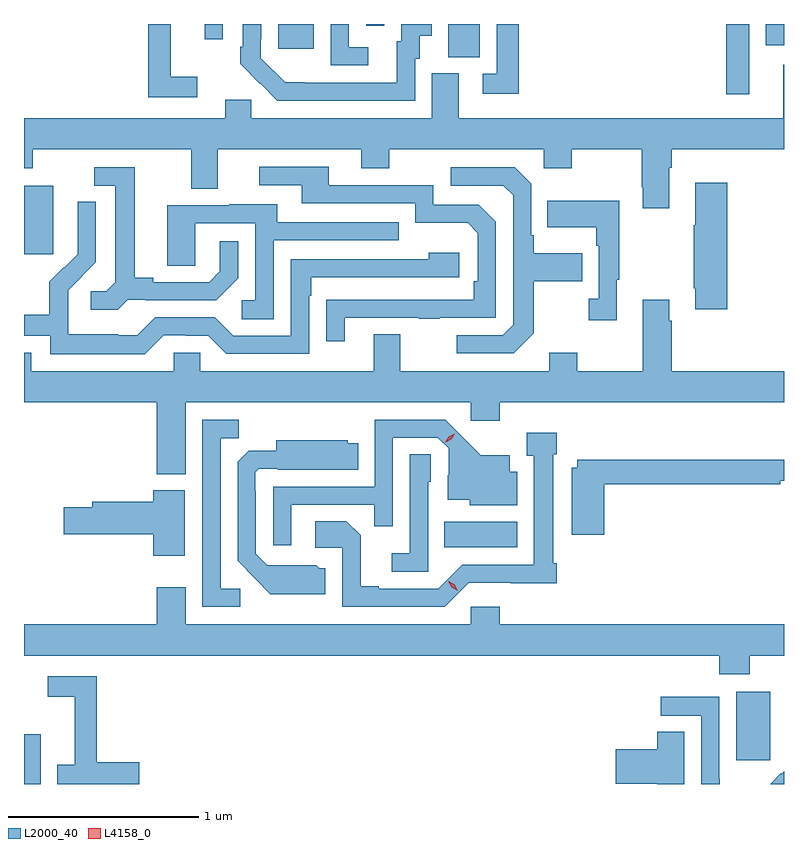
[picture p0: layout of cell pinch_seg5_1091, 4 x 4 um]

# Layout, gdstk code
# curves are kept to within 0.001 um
import gdstk
lib = gdstk.Library(unit=1e-6, precision=1e-09)
def R(c, l, rs):  # rectangles x0, y0, x1, y1
    for r in rs: c.add(gdstk.rectangle(r[:2], r[2:], *l))
def P(c, l, *ps):  # polygons
    for p in ps: c.add(gdstk.Polygon(p, *l))
L2000_40 = (2000, 40)
L4158_0 = (4158, 0)

pinch_seg5_1091 = lib.new_cell('pinch_seg5_1091')
R(pinch_seg5_1091, L2000_40, [(790.722,837.436,790.809,837.697), (794.471,837.561,794.65,837.922), (792.934,838.682,793.318,838.816), (790.722,840.225,790.876,840.586), (794.418,841.065,794.539,841.436), (792.956,841.261,793.12,841.436), (792.059,841.305,792.247,841.436), (794.627,841.325,794.722,841.436), (791.673,841.356,791.769,841.436), (792.522,841.428,792.618,841.436)])
P(pinch_seg5_1091, L2000_40, [(791.635,841.159),(791.495,841.159),(791.495,841.436),(791.377,841.436),(791.377,841.05),(791.635,841.05)],
  [(792.78,841.254),(792.805,841.254),(792.805,841.373),(792.868,841.373),(792.868,841.436),(792.707,841.436),(792.707,841.344),(792.683,841.344),(792.683,841.128),(792.096,841.129),(791.967,841.257),(791.967,841.357),(791.97,841.357),(791.97,841.436),(791.874,841.436),(791.874,841.315),(791.859,841.315),(791.859,841.227),(792.056,841.032),(792.78,841.032)],
  [(792.535,841.314),(792.432,841.314),(792.432,841.436),(792.336,841.436),(792.336,841.218),(792.535,841.218)],
  [(793.325,841.436),(793.209,841.436),(793.209,841.173),(793.137,841.173),(793.137,841.068),(793.325,841.068)],
  [(794.119,840.68),(794.132,840.68),(794.132,840.776),(794.722,840.776),(794.722,841.222),(794.717,841.222),(794.717,840.94),(793.009,840.94),(793.009,841.176),(792.869,841.176),(792.869,840.94),(791.919,840.94),(791.919,841.038),(791.78,841.038),(791.78,840.94),(790.722,840.94),(790.722,840.677),(790.767,840.677),(790.767,840.776),(791.603,840.776),(791.603,840.568),(791.743,840.568),(791.743,840.776),(792.497,840.776),(792.497,840.677),(792.645,840.677),(792.645,840.776),(793.458,840.776),(793.458,840.677),(793.605,840.677),(793.605,840.776),(793.972,840.776),(793.972,840.577),(793.979,840.577),(793.979,840.465),(794.119,840.465)],
  [(792.409,839.889),(792.799,839.889),(792.799,839.884),(792.911,839.884),(792.911,839.889),(793.206,839.889),(793.206,840.396),(793.116,840.486),(792.876,840.486),(792.876,840.588),(792.325,840.588),(792.325,840.684),(791.961,840.684),(791.961,840.588),(792.185,840.588),(792.185,840.492),(792.78,840.492),(792.78,840.389),(793.057,840.389),(793.11,840.336),(793.11,840.082),(793.09,840.082),(793.09,839.985),(792.313,839.984),(792.313,839.766),(792.409,839.766)],
  [(793.405,839.809),(793.405,840.082),(793.661,840.082),(793.661,840.229),(793.405,840.229),(793.405,840.325),(793.392,840.325),(793.392,840.594),(793.305,840.681),(792.969,840.681),(792.969,840.585),(793.245,840.585),(793.296,840.534),(793.296,839.853),(793.242,839.799),(792.999,839.799),(792.999,839.703),(793.299,839.703)],
  [(791.268,839.985),(791.362,839.985),(791.362,839.982),(791.734,839.982),(791.85,840.098),(791.85,840.292),(791.753,840.292),(791.753,840.135),(791.696,840.078),(791.401,840.078),(791.401,840.101),(791.305,840.101),(791.305,840.681),(791.091,840.681),(791.091,840.585),(791.201,840.585),(791.201,840.077),(791.154,840.03),(791.073,840.03),(791.073,839.933),(791.216,839.933)],
  [(794.423,840.601),(794.255,840.601),(794.255,840.377),(794.248,840.377),(794.248,840.046),(794.255,840.046),(794.255,839.934),(794.423,839.934)],
  [(793.843,840.089),(793.855,840.089),(793.855,840.505),(793.477,840.505),(793.477,840.365),(793.734,840.365),(793.734,840.269),(793.746,840.269),(793.746,839.99),(793.695,839.99),(793.695,839.877),(793.843,839.877)],
  [(791.457,839.799),(791.573,839.799),(791.573,839.796),(791.691,839.796),(791.787,839.7),(792.222,839.7),(792.222,840.005),(792.235,840.005),(792.235,840.102),(793.012,840.102),(793.012,840.232),(792.851,840.232),(792.851,840.198),(792.126,840.198),(792.126,839.796),(791.823,839.796),(791.727,839.892),(791.412,839.892),(791.319,839.799),(791.219,839.799),(791.219,839.803),(790.956,839.803),(790.956,839.937),(790.954,839.937),(790.954,840.034),(791.1,840.182),(791.1,840.5),(791.004,840.5),(791.004,840.346),(791.006,840.346),(791.006,840.224),(790.935,840.153),(790.932,840.156),(790.855,840.079),(790.855,839.905),(790.722,839.905),(790.722,839.796),(790.86,839.796),(790.86,839.699),(791.357,839.699)],
  [(792.036,840.297),(792.695,840.297),(792.695,840.393),(792.055,840.393),(792.055,840.487),(791.801,840.487),(791.801,840.483),(791.477,840.483),(791.477,840.163),(791.622,840.163),(791.622,840.387),(791.94,840.387),(791.94,839.982),(791.868,839.982),(791.868,839.881),(792.036,839.881)],
  [(791.572,839.444),(793.074,839.444),(793.074,839.349),(793.226,839.349),(793.226,839.444),(794.722,839.444),(794.722,839.608),(794.132,839.608),(794.132,839.873),(794.119,839.873),(794.119,839.986),(793.979,839.986),(793.979,839.608),(793.635,839.608),(793.635,839.707),(793.487,839.707),(793.487,839.608),(792.703,839.608),(792.703,839.803),(792.563,839.803),(792.563,839.608),(791.649,839.608),(791.649,839.706),(791.511,839.706),(791.511,839.608),(790.759,839.608),(790.759,839.707),(790.722,839.707),(790.722,839.444),(791.42,839.444),(791.42,839.066),(791.572,839.066)],
  [(791.86,838.464),(791.757,838.464),(791.757,839.257),(791.853,839.257),(791.853,839.352),(791.661,839.352),(791.661,838.368),(791.86,838.368)],
  [(792.129,838.905),(792.565,838.905),(792.565,838.792),(792.663,838.792),(792.663,839.259),(792.9,839.259),(792.957,839.202),(792.957,839.06),(792.953,839.06),(792.953,838.931),(793.068,838.931),(793.068,838.904),(793.318,838.904),(793.318,839.08),(793.279,839.08),(793.279,839.167),(793.127,839.167),(792.94,839.352),(792.567,839.352),(792.567,839.001),(792.033,839.001),(792.033,838.692),(792.129,838.692)],
  [(793.062,838.494),(793.525,838.493),(793.525,838.597),(793.507,838.597),(793.507,839.171),(793.525,839.171),(793.525,839.284),(793.367,839.284),(793.367,839.163),(793.406,839.163),(793.406,838.59),(793.029,838.59),(792.903,838.464),(792.589,838.464),(792.589,838.477),(792.495,838.477),(792.495,838.744),(792.419,838.82),(792.255,838.82),(792.255,838.68),(792.396,838.68),(792.396,838.368),(792.936,838.368)],
  [(792.307,838.572),(792.276,838.572),(792.26,838.588),(792.003,838.587),(791.943,838.647),(791.943,838.976),(791.94,838.976),(791.94,839.076),(791.958,839.094),(792.058,839.094),(792.058,839.09),(792.482,839.09),(792.482,839.23),(792.426,839.23),(792.426,839.245),(792.05,839.245),(792.05,839.191),(791.906,839.191),(791.847,839.132),(791.847,838.61),(792.019,838.436),(792.307,838.436)],
  [(792.849,839.028),(792.864,839.028),(792.864,839.171),(792.753,839.171),(792.753,838.651),(792.657,838.651),(792.657,838.554),(792.849,838.554)],
  [(793.775,839.014),(794.703,839.014),(794.703,839.033),(794.722,839.033),(794.722,839.143),(793.634,839.143),(793.634,839.101),(793.604,839.101),(793.604,838.749),(793.775,838.749)],
  [(791.569,838.981),(791.402,838.981),(791.402,838.922),(791.081,838.922),(791.081,838.892),(790.932,838.892),(790.932,838.75),(791.402,838.75),(791.402,838.638),(791.569,838.638)],
  [(794.541,838.112),(794.722,838.112),(794.722,838.276),(793.226,838.276),(793.226,838.369),(793.074,838.369),(793.074,838.276),(791.572,838.276),(791.572,838.471),(791.42,838.471),(791.42,838.276),(790.722,838.276),(790.722,838.112),(794.381,838.112),(794.381,838.013),(794.541,838.013)],
  [(791.329,837.551),(791.105,837.551),(791.105,838.002),(790.848,838.002),(790.848,837.894),(790.988,837.894),(790.988,837.538),(790.898,837.538),(790.898,837.436),(791.329,837.436)],
  [(794.385,837.464),(794.382,837.464),(794.382,837.894),(794.073,837.894),(794.073,837.795),(794.286,837.795),(794.286,837.436),(794.385,837.436)],
  [(794.197,837.71),(794.054,837.71),(794.054,837.62),(793.836,837.62),(793.836,837.437),(794.054,837.437),(794.054,837.436),(794.197,837.436)],
  [(794.722,837.502),(794.709,837.489),(794.706,837.492),(794.65,837.436),(794.722,837.436)])
P(pinch_seg5_1091, L4158_0, [(793.005,838.452),(792.973,838.471),(792.956,838.504),(792.956,838.504),(792.957,838.504),(792.988,838.485),(793.005,838.452),(793.005,838.452)],
  [(792.94,839.234),(792.94,839.235),(792.958,839.264),(792.988,839.28),(792.989,839.28),(792.989,839.28),(792.971,839.25),(792.941,839.234)])

lib.write_gds('pinch_seg5_1091.gds')
